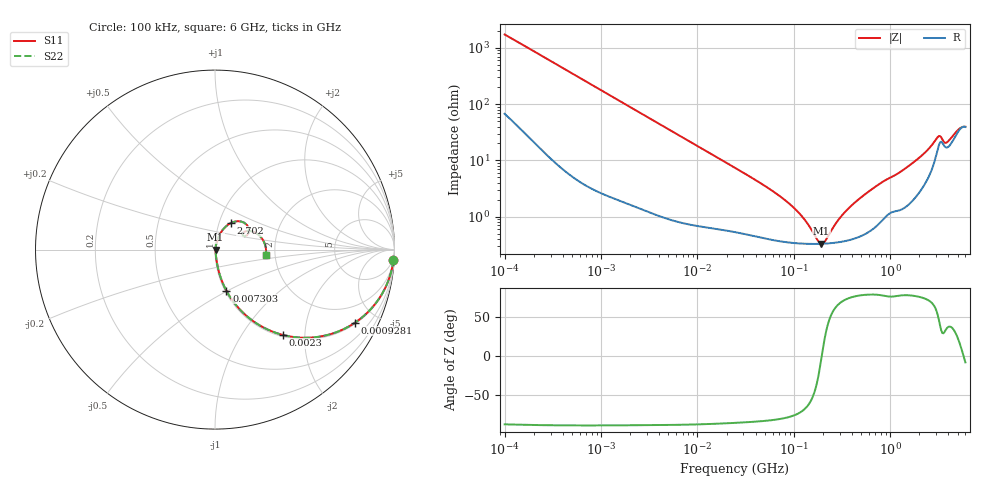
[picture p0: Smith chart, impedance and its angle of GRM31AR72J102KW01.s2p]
!Murata Part Number: GRM31AR72J102KW01
!These Parameters are Measured in Series Mode Connection
!Data Generated on Mar 30, 2021
!  o--ll--o
!Port1  Port2
!  o------o
!Operation Temp=25[degC], DC Bias Voltage=0[V]
!Freq. Start=100[kHz] Stop=6[GHz] 401[Steps]
# Hz S RI R 50
!Freq.(Hz) S11(Real) S11(Imag) S21(Real) S21(Imag) S12(Real) S12(Imag) S22(Real) S22(Imag)
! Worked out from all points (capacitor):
!   401 points, 100 kHz to 6 GHz, reference 50 ohm
!   read as one part in series: C = 912 pF near 105.7 kHz
!   lowest |Z| = 330 mohm at 192.7 MHz (marker M1)
!   series resonance near 194.4 MHz, so ESL is about 730 pH
!   S11 on the Smith chart (normalised r, x): 100 kHz: 2, -35; 928.1 kHz: 1.06, -3.81; 2.3 MHz: 1.03, -1.55; 7.303 MHz: 1.02, -0.49; 2.702 GHz: 1.14, +0.35; 6 GHz: 1.79, -0.11
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100000  0.9945 -0.0572  0.00553 0.0572  0.00553 0.0572  0.9945 -0.0572
261871  0.9756 -0.1447  0.0244 0.1447  0.0244 0.1447  0.9756 -0.1447
631452  0.8832 -0.3142  0.1168 0.3142  0.1168 0.3142  0.8832 -0.3142
928059  0.7807 -0.4066  0.2193 0.4066  0.2193 0.4066  0.7807 -0.4066
1481314  0.5877 -0.484  0.4123 0.484  0.4123 0.484  0.5877 -0.484
2300240  0.377 -0.4752  0.623 0.4752  0.623 0.4752  0.377 -0.4752
3987316  0.1732 -0.3672  0.8268 0.3672  0.8268 0.3672  0.1732 -0.3672
7302625  0.0633 -0.2286  0.9367 0.2286  0.9367 0.2286  0.0633 -0.2286
2.517799e7  0.0103 -0.0705  0.9897 0.0705  0.9897 0.0705  0.0103 -0.0705
8.44535e7  0.00382 -0.018  0.9962 0.018  0.9962 0.018  0.00382 -0.018
1.174795e8  0.00342 -0.0102  0.9966 0.0102  0.9966 0.0102  0.00342 -0.0102
1.546735e8  0.00328 -0.00448  0.9967 0.00448  0.9967 0.00448  0.00328 -0.00448
1.927432e8  0.00328 -0.000163  0.9967 0.000163  0.9967 0.000163  0.00328 -0.000163
2.093221e8  0.00331 0.00145  0.9967 -0.00145  0.9967 -0.00145  0.00331 0.00145
3.833659e8  0.00406 0.0144  0.9959 -0.0144  0.9959 -0.0144  0.00406 0.0144
9.76689e8  0.0133 0.046  0.9867 -0.046  0.9867 -0.046  0.0133 0.046
1.693027e9  0.0258 0.0834  0.9742 -0.0834  0.9742 -0.0834  0.0258 0.0834
2.702311e9  0.0899 0.1488  0.9101 -0.1488  0.9101 -0.1488  0.0899 0.1488
3.187187e9  0.1796 0.1357  0.8204 -0.1357  0.8204 -0.1357  0.1796 0.1357
3.863894e9  0.1542 0.0889  0.8458 -0.0889  0.8458 -0.0889  0.1542 0.0889
4.68428e9  0.2193 0.097  0.7807 -0.097  0.7807 -0.097  0.2193 0.097
6e9  0.2831 -0.0289  0.7169 0.0289  0.7169 0.0289  0.2831 -0.0289
